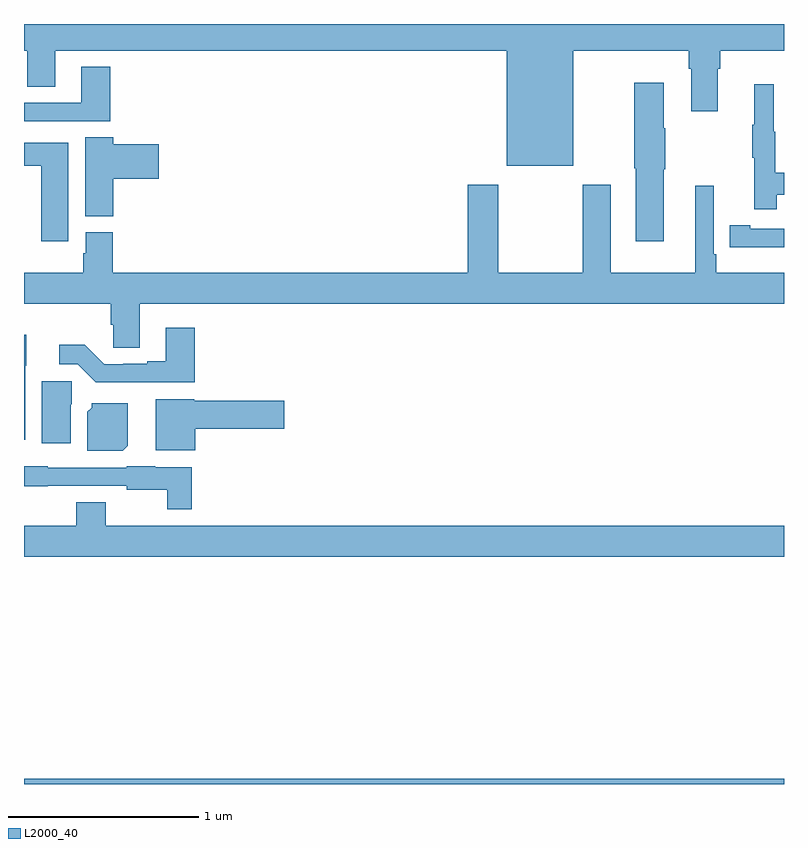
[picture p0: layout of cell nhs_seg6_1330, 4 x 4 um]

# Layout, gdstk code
import gdstk
lib = gdstk.Library(unit=1e-6, precision=1e-09)
def R(c, l, rs):  # rectangles x0, y0, x1, y1
    for r in rs: c.add(gdstk.rectangle(r[:2], r[2:], *l))
def P(c, l, *ps):  # polygons
    for p in ps: c.add(gdstk.Polygon(p, *l))
L2000_40 = (2000, 40)

nhs_seg6_1330 = lib.new_cell('nhs_seg6_1330')
R(nhs_seg6_1330, L2000_40, [(193,919.5,197,919.528)])
P(nhs_seg6_1330, L2000_40, [(195.892,923.36),(196.499,923.36),(196.499,923.264),(196.511,923.264),(196.511,923.04),(196.651,923.04),(196.651,923.264),(196.664,923.264),(196.664,923.36),(197,923.36),(197,923.5),(193,923.5),(193,923.36),(193.018,923.36),(193.018,923.17),(193.165,923.17),(193.165,923.36),(195.542,923.36),(195.542,922.754),(195.892,922.754)],
  [(193.454,923.275),(193.301,923.275),(193.301,923.085),(193,923.085),(193,922.989),(193.454,922.989)],
  [(196.366,922.735),(196.374,922.735),(196.374,922.952),(196.366,922.952),(196.366,923.191),(196.213,923.191),(196.213,922.741),(196.22,922.741),(196.22,922.356),(196.366,922.356)],
  [(196.961,922.602),(197,922.602),(197,922.718),(196.954,922.718),(196.954,922.932),(196.946,922.932),(196.946,923.182),(196.844,923.182),(196.844,922.969),(196.833,922.969),(196.833,922.795),(196.844,922.795),(196.844,922.524),(196.961,922.524)],
  [(193.469,922.685),(193.708,922.685),(193.708,922.868),(193.469,922.868),(193.469,922.904),(193.322,922.904),(193.322,922.489),(193.469,922.489)],
  [(193.234,922.876),(193,922.876),(193,922.754),(193.091,922.754),(193.091,922.356),(193.234,922.356)],
  [(197,922.192),(196.643,922.192),(196.643,922.288),(196.629,922.288),(196.629,922.648),(196.532,922.648),(196.532,922.192),(196.087,922.192),(196.087,922.654),(195.94,922.654),(195.94,922.192),(195.495,922.192),(195.495,922.654),(195.335,922.654),(195.335,922.192),(193.466,922.192),(193.466,922.404),(193.325,922.404),(193.325,922.293),(193.313,922.293),(193.313,922.192),(193,922.192),(193,922.028),(193.457,922.028),(193.457,921.918),(193.47,921.918),(193.47,921.796),(193.609,921.796),(193.609,922.028),(197,922.028)],
  [(197,922.422),(196.822,922.422),(196.822,922.442),(196.714,922.442),(196.714,922.326),(196.822,922.326),(196.822,922.325),(197,922.325)],
  [(193.898,921.901),(193.745,921.901),(193.745,921.724),(193.649,921.724),(193.649,921.711),(193.522,921.711),(193.522,921.708),(193.422,921.708),(193.32,921.811),(193.185,921.811),(193.185,921.708),(193.284,921.708),(193.378,921.614),(193.898,921.614)],
  [(193.006,921.702),(193.012,921.702),(193.012,921.865),(193,921.865),(193,921.312),(193.006,921.312)],
  [(193.246,921.498),(193.25,921.498),(193.25,921.621),(193.094,921.621),(193.094,921.294),(193.246,921.294)],
  [(193.9,921.371),(194.371,921.371),(194.371,921.518),(193.896,921.518),(193.896,921.526),(193.694,921.526),(193.694,921.257),(193.9,921.257)],
  [(193.546,921.28),(193.546,921.505),(193.356,921.505),(193.356,921.48),(193.334,921.458),(193.334,921.254),(193.52,921.254)],
  [(193.883,921.166),(193.692,921.166),(193.692,921.172),(193.542,921.172),(193.542,921.165),(193.125,921.165),(193.125,921.172),(193,921.172),(193,921.068),(193.125,921.068),(193.125,921.069),(193.542,921.069),(193.542,921.05),(193.755,921.05),(193.755,920.945),(193.883,920.945)],
  [(197,920.86),(193.431,920.86),(193.431,920.984),(193.276,920.984),(193.276,920.86),(193,920.86),(193,920.696),(197,920.696)])

lib.write_gds('nhs_seg6_1330.gds')
